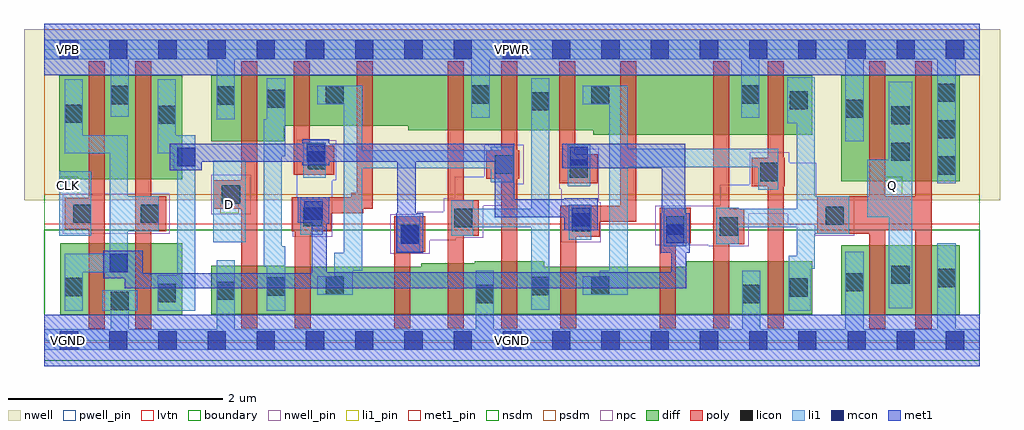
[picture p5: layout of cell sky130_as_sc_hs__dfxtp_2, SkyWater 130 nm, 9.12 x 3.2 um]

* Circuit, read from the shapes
.subckt sky130_as_sc_hs__dfxtp_2 CLK D Q VGND VNB VPB VPWR
XM1 VGND CLK n1 VNB sky130_fd_pr__nfet_01v8_lvt w=0.67 l=0.15
XM2 n2 n1 VGND VNB sky130_fd_pr__nfet_01v8_lvt w=0.67 l=0.15
XM3 n3 D VGND VNB sky130_fd_pr__nfet_01v8_lvt w=0.455 l=0.15
XM4 n4 n1 n3 VNB sky130_fd_pr__nfet_01v8_lvt w=0.445 l=0.15
XM5 n5 n2 n4 VNB sky130_fd_pr__nfet_01v8_lvt w=0.445 l=0.15
XM6 VGND n6 n5 VNB sky130_fd_pr__nfet_01v8_lvt w=0.475 l=0.15
XM7 n6 n4 VGND VNB sky130_fd_pr__nfet_01v8_lvt w=0.495 l=0.15
XM8 n7 n2 n6 VNB sky130_fd_pr__nfet_01v8_lvt w=0.445 l=0.15
XM9 n8 n1 n7 VNB sky130_fd_pr__nfet_01v8_lvt w=0.445 l=0.15
XM10 VGND n9 n8 VNB sky130_fd_pr__nfet_01v8_lvt w=0.495 l=0.15
XM11 n9 n7 VGND VNB sky130_fd_pr__nfet_01v8_lvt w=0.495 l=0.15
XM12 Q n9 VGND VNB sky130_fd_pr__nfet_01v8_lvt w=0.65 l=0.15 m=2
XM13 VPWR CLK n1 VPB sky130_fd_pr__pfet_01v8 w=0.975 l=0.15
XM14 n2 n1 VPWR VPB sky130_fd_pr__pfet_01v8 w=0.975 l=0.15
XM15 n3 D VPWR VPB sky130_fd_pr__pfet_01v8 w=0.62 l=0.15
XM16 n4 n2 n3 VPB sky130_fd_pr__pfet_01v8 w=0.475 l=0.15
XM17 n10 n1 n4 VPB sky130_fd_pr__pfet_01v8 w=0.475 l=0.15
XM18 VPWR n6 n10 VPB sky130_fd_pr__pfet_01v8 w=0.515 l=0.15
XM19 n6 n4 VPWR VPB sky130_fd_pr__pfet_01v8 w=0.515 l=0.15
XM20 n7 n1 n6 VPB sky130_fd_pr__pfet_01v8 w=0.515 l=0.15
XM21 n11 n2 n7 VPB sky130_fd_pr__pfet_01v8 w=0.555 l=0.15
XM22 VPWR n9 n11 VPB sky130_fd_pr__pfet_01v8 w=0.555 l=0.15
XM23 n9 n7 VPWR VPB sky130_fd_pr__pfet_01v8 w=0.555 l=0.15
XM24 Q n9 VPWR VPB sky130_fd_pr__pfet_01v8 w=0.99 l=0.15 m=2
.ends

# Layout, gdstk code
import gdstk
lib = gdstk.Library(unit=1e-6, precision=1e-09)
def R(c, l, rs):  # rectangles x0, y0, x1, y1
    for r in rs: c.add(gdstk.rectangle(r[:2], r[2:], *l))
def A(c, l, x, y, w, h, nx, ny, dx, dy):  # array of equal rectangles
    R(c, l, [(x+i*dx, y+j*dy, x+i*dx+w, y+j*dy+h) for i in range(nx) for j in range(ny)])
nwell_pin = (64, 16)
nwell = (64, 20)
diff = (65, 20)
poly = (66, 20)
licon = (66, 44)
li1_pin = (67, 16)
li1 = (67, 20)
mcon = (67, 44)
met1_pin = (68, 16)
met1 = (68, 20)
nsdm = (93, 44)
psdm = (94, 20)
npc = (95, 20)
pwell_pin = (122, 16)
lvtn = (125, 44)
boundary = (235, 4)

sky130_as_sc_hs__dfxtp_2 = lib.new_cell('sky130_as_sc_hs__dfxtp_2')
R(sky130_as_sc_hs__dfxtp_2, nwell_pin, [(0.145,2.635,0.315,2.805)])
R(sky130_as_sc_hs__dfxtp_2, nwell, [(-0.19,1.31,8.93,2.91)])
R(sky130_as_sc_hs__dfxtp_2, diff, [(0.15,0.24,1.29,0.91), (7.445,0.24,8.555,0.89), (1.56,0.245,7.175,0.69), (1.56,0.69,2.24,0.7), (3.52,0.69,4.67,0.72), (6,0.69,7.175,0.74), (4.02,0.72,4.67,0.74), (7.445,1.49,8.555,2.48), (0.14,1.505,1.29,2.48), (1.56,1.86,2.24,2.005), (5.13,1.925,7.175,1.965), (3.4,1.965,7.175,2.005), (1.56,2.005,7.175,2.48)])
R(sky130_as_sc_hs__dfxtp_2, poly, [(0.415,0.11,0.565,1.04), (0.85,0.11,1,1.02), (7.71,0.11,7.86,1), (8.14,0.11,8.29,1.03), (1.84,0.115,1.99,1.23), (2.34,0.115,2.49,1.02), (3.27,0.115,3.42,0.83), (3.77,0.115,3.92,0.98), (4.27,0.115,4.42,1.51), (4.82,0.115,4.97,0.97), (5.75,0.115,5.9,0.91), (6.25,0.115,6.4,0.9), (6.76,0.115,6.91,1.44), (3.27,0.83,3.56,1.16), (6.25,0.9,6.54,1.23), (5.75,0.91,6.04,1.24), (4.82,0.97,5.19,1.11), (3.77,0.98,4.06,1.31), (7.22,1,7.86,1.03), (0.85,1.02,1.14,1.35), (2.31,1.02,2.68,1.19), (7.22,1.03,8.29,1.35), (0.19,1.04,0.565,1.335), (4.82,1.11,5.53,1.26), (2.31,1.19,2.98,1.23), (1.58,1.23,1.99,1.5), (2.31,1.23,3.07,1.34), (6.25,1.23,6.4,2.61), (5.38,1.26,5.53,2.61), (3.77,1.31,3.92,2.61), (0.415,1.335,0.565,2.61), (2.87,1.34,3.07,1.38), (0.85,1.35,1,2.61), (7.71,1.35,7.86,2.61), (8.14,1.35,8.29,2.61), (2.92,1.38,3.07,2.61), (6.61,1.44,6.92,1.71), (4.81,1.47,5.17,1.74), (1.84,1.5,1.99,2.61), (4.13,1.51,4.44,1.78), (2.33,1.55,2.71,1.82), (6.76,1.71,6.91,2.61), (4.81,1.74,4.96,2.61), (4.27,1.78,4.42,2.61), (2.33,1.82,2.48,2.61)])
A(sky130_as_sc_hs__dfxtp_2, licon, 8.345, 1.55, 0.17, 0.17, 1, 3, 0, 0.34)
R(sky130_as_sc_hs__dfxtp_2, licon, [(0.62,0.285,0.79,0.455), (4.03,0.35,4.2,0.52), (6.52,0.35,6.69,0.52), (1.06,0.36,1.23,0.53), (1.61,0.38,1.78,0.55), (6.965,0.41,7.135,0.58), (0.19,0.415,0.36,0.585), (2.08,0.42,2.25,0.59), (4.55,0.425,4.72,0.595), (2.63,0.43,2.8,0.6), (5.11,0.43,5.28,0.6), (7.485,0.46,7.655,0.63), (8.345,0.5,8.515,0.67), (7.915,0.53,8.085,0.7), (3.33,0.91,3.5,1.08), (6.31,0.98,6.48,1.15), (5.81,0.99,5.98,1.16), (4.93,1.02,5.1,1.19), (3.83,1.06,4,1.23), (2.42,1.07,2.59,1.24), (7.3,1.08,7.47,1.25), (0.27,1.1,0.44,1.27), (0.9,1.1,1.07,1.27), (1.66,1.28,1.83,1.45), (6.69,1.49,6.86,1.66), (4.91,1.52,5.08,1.69), (4.21,1.56,4.38,1.73), (2.46,1.6,2.63,1.77), (7.915,1.68,8.085,1.85), (7.915,2.02,8.085,2.19), (1.06,2.025,1.23,2.195), (0.19,2.035,0.36,2.205), (7.485,2.08,7.655,2.25), (4.55,2.15,4.72,2.32), (6.965,2.16,7.135,2.33), (2.08,2.175,2.25,2.345), (1.61,2.205,1.78,2.375), (0.62,2.21,0.79,2.38), (2.63,2.21,2.8,2.38), (5.11,2.21,5.28,2.38), (3.99,2.215,4.16,2.385), (6.51,2.215,6.68,2.385)])
R(sky130_as_sc_hs__dfxtp_2, li1_pin, [(1.645,1.19,1.815,1.36), (0.145,1.36,0.315,1.53), (7.845,1.36,8.015,1.53)])
R(sky130_as_sc_hs__dfxtp_2, li1, [(0,-0.085,8.74,0.105), (0.62,0.105,0.79,0.28), (1.61,0.105,1.78,0.75), (4.03,0.105,4.2,0.65), (6.52,0.105,6.69,0.65), (7.485,0.105,7.655,0.83), (8.345,0.105,8.515,0.91), (0.19,0.28,0.36,0.64), (0.54,0.28,0.87,0.47), (1.06,0.28,1.41,0.61), (2.08,0.28,2.25,0.69), (6.955,0.28,7.16,0.67), (4.55,0.29,4.72,1.06), (7.89,0.3,8.11,1.15), (2.55,0.43,2.88,0.6), (5.03,0.43,5.45,0.6), (2.71,0.6,2.88,0.65), (5.19,0.6,5.45,0.65), (1.24,0.61,1.41,1.59), (0.19,0.64,0.78,0.81), (2.71,0.65,2.97,0.82), (5.28,0.65,5.45,1.62), (6.955,0.67,7.2,0.79), (2.05,0.69,2.25,0.88), (7.03,0.79,7.2,1), (0.61,0.81,0.78,1.02), (2.8,0.82,2.97,1.61), (3.3,0.83,3.51,1.16), (2.05,0.88,2.22,1.72), (5.79,0.88,6,1.24), (6.28,0.9,6.49,1.06), (1.58,0.92,1.88,1.68), (4.9,0.94,5.11,1.27), (0.14,0.98,0.44,1.58), (3.8,0.98,4.01,1.06), (2.39,0.99,2.6,1.32), (7.03,1,7.52,1.06), (0.61,1.02,1.07,1.35), (3.8,1.06,4.72,1.23), (6.28,1.06,7.52,1.23), (7.69,1.15,8.11,1.69), (3.8,1.23,4.01,1.31), (4.55,1.23,4.72,2.45), (6.28,1.23,6.49,1.24), (7.03,1.23,7.52,1.35), (0.61,1.35,0.78,1.75), (7.03,1.35,7.2,2.03), (6.67,1.41,6.86,1.62), (4.89,1.44,5.1,1.83), (8.345,1.47,8.515,2.63), (4.17,1.48,4.38,1.61), (2.42,1.52,2.63,1.85), (1.21,1.59,1.41,1.75), (2.8,1.61,4.38,1.78), (5.28,1.62,6.86,1.79), (7.89,1.69,8.11,2.42), (2.05,1.72,2.25,2.07), (0.19,1.75,0.78,1.92), (1.06,1.75,1.41,1.92), (2.8,1.78,2.97,2.21), (4.17,1.78,4.38,1.81), (5.28,1.79,5.45,2.21), (7.485,1.86,7.655,2.63), (0.19,1.92,0.36,2.44), (1.06,1.92,1.23,2.44), (6.94,2.03,7.2,2.46), (1.61,2.07,1.78,2.63), (2.08,2.07,2.25,2.45), (3.99,2.08,4.16,2.63), (6.51,2.08,6.68,2.63), (0.62,2.09,0.79,2.63), (2.55,2.21,2.97,2.38), (5.03,2.21,5.45,2.38), (0,2.63,8.74,2.81)])
A(sky130_as_sc_hs__dfxtp_2, mcon, 0.145, -0.085, 0.17, 0.17, 19, 2, 0.46, 2.72)
R(sky130_as_sc_hs__dfxtp_2, mcon, [(0.61,0.64,0.78,0.81), (3.33,0.905,3.5,1.075), (5.81,0.91,5.98,1.08), (4.93,1.07,5.1,1.24), (2.43,1.13,2.6,1.3), (1.24,1.63,1.41,1.8), (4.91,1.64,5.08,1.81), (2.45,1.67,2.62,1.84)])
R(sky130_as_sc_hs__dfxtp_2, met1_pin, [(0,-0.24,8.74,0.24), (0.145,-0.085,0.315,0.085), (0,2.48,8.74,2.96), (0.145,2.635,0.315,2.805)])
R(sky130_as_sc_hs__dfxtp_2, met1, [(0,-0.24,8.74,0.24), (0.75,0.49,6,0.58), (0.55,0.58,6,0.63), (0.55,0.63,0.92,0.84), (2.5,0.63,6,0.64), (2.5,0.64,2.64,1.09), (5.86,0.64,6,0.82), (3.29,0.82,3.54,1.19), (5.76,0.82,6.03,1.19), (4.86,1.03,5.17,1.15), (2.5,1.09,2.66,1.1), (2.37,1.1,2.66,1.34), (4.21,1.15,5.17,1.32), (3.3,1.19,3.47,1.67), (5.77,1.19,5.99,1.61), (4.21,1.32,4.39,1.67), (4.86,1.32,5.17,1.33), (1.17,1.59,1.47,1.67), (4.84,1.61,5.99,1.84), (2.41,1.64,2.66,1.67), (1.17,1.67,4.39,1.84), (2.41,1.84,2.66,1.88), (0,2.48,8.74,2.96)])
R(sky130_as_sc_hs__dfxtp_2, nsdm, [(0,-0.19,8.74,1.035)])
R(sky130_as_sc_hs__dfxtp_2, psdm, [(0,1.36,8.74,2.91)])
R(sky130_as_sc_hs__dfxtp_2, npc, [(3.23,0.81,3.6,0.935), (6.21,0.88,6.58,0.89), (5.71,0.89,6.58,1.185), (4.83,0.92,5.2,1.29), (3.23,0.935,3.845,0.96), (3.23,0.96,4.1,1.18), (2.32,0.97,2.69,1.34), (7.2,0.98,7.57,1.08), (0.17,1,1.17,1.37), (6.945,1.08,7.57,1.185), (1.56,1.18,1.93,1.55), (3.485,1.18,4.1,1.205), (5.71,1.185,7.57,1.26), (3.73,1.205,4.1,1.26), (3.73,1.26,4.375,1.33), (6.315,1.26,7.57,1.35), (4.83,1.29,5.18,1.42), (3.835,1.33,4.375,1.46), (2.36,1.34,2.69,1.5), (6.315,1.35,7.215,1.455), (4.81,1.42,5.18,1.79), (6.59,1.455,7.215,1.66), (3.835,1.46,4.48,1.53), (2.36,1.5,2.73,1.87), (4.11,1.53,4.48,1.83), (6.59,1.66,6.96,1.76)])
R(sky130_as_sc_hs__dfxtp_2, pwell_pin, [(0.145,-0.085,0.315,0.085)])
R(sky130_as_sc_hs__dfxtp_2, lvtn, [(0,-0.02,8.74,1.09)])
R(sky130_as_sc_hs__dfxtp_2, boundary, [(0,0,8.74,2.72)])
sky130_as_sc_hs__dfxtp_2.add(gdstk.Label('VPB', (0.23,2.72), layer=64, texttype=5))
sky130_as_sc_hs__dfxtp_2.add(gdstk.Label('VPB', (0.23,2.72), layer=64, texttype=5))
sky130_as_sc_hs__dfxtp_2.add(gdstk.Label('VGND', (0.23,0), layer=68, texttype=5))
sky130_as_sc_hs__dfxtp_2.add(gdstk.Label('VGND', (4.37,0), layer=68, texttype=5))
sky130_as_sc_hs__dfxtp_2.add(gdstk.Label('VPWR', (0.23,2.72), layer=68, texttype=5))
sky130_as_sc_hs__dfxtp_2.add(gdstk.Label('VPWR', (4.37,2.72), layer=68, texttype=5))
sky130_as_sc_hs__dfxtp_2.add(gdstk.Label('VNB', (0.23,0), layer=64, texttype=59))
sky130_as_sc_hs__dfxtp_2.add(gdstk.Label('VNB', (0.23,0), layer=64, texttype=59))
sky130_as_sc_hs__dfxtp_2.add(gdstk.Label('Q', (7.93,1.445), layer=67, texttype=5))
sky130_as_sc_hs__dfxtp_2.add(gdstk.Label('Q', (7.93,1.445), layer=67, texttype=5))
sky130_as_sc_hs__dfxtp_2.add(gdstk.Label('D', (1.73,1.275), layer=67, texttype=5))
sky130_as_sc_hs__dfxtp_2.add(gdstk.Label('D', (1.73,1.275), layer=67, texttype=5))
sky130_as_sc_hs__dfxtp_2.add(gdstk.Label('CLK', (0.23,1.445), layer=67, texttype=5))
sky130_as_sc_hs__dfxtp_2.add(gdstk.Label('CLK', (0.23,1.445), layer=67, texttype=5))

lib.write_gds('sky130_as_sc_hs__dfxtp_2.gds')
